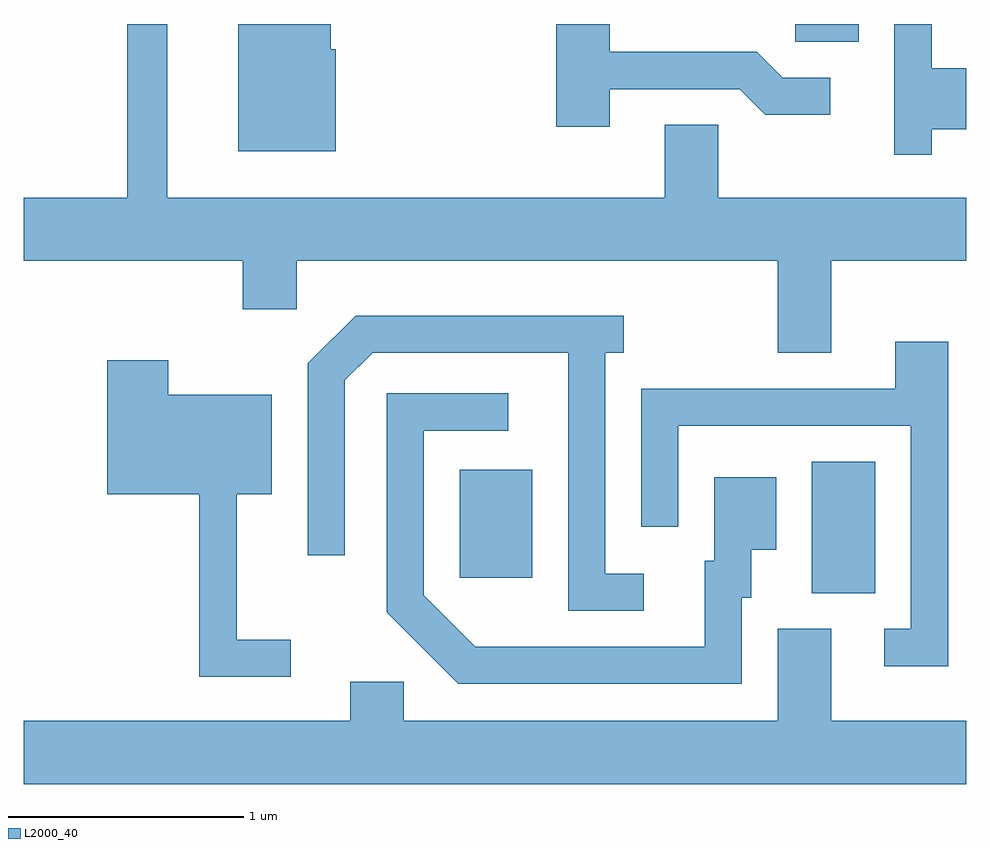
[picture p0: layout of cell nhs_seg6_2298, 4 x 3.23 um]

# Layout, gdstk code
import gdstk
lib = gdstk.Library(unit=1e-6, precision=1e-09)
def R(c, l, rs):  # rectangles x0, y0, x1, y1
    for r in rs: c.add(gdstk.rectangle(r[:2], r[2:], *l))
def P(c, l, *ps):  # polygons
    for p in ps: c.add(gdstk.Polygon(p, *l))
L2000_40 = (2000, 40)

nhs_seg6_2298 = lib.new_cell('nhs_seg6_2298')
R(nhs_seg6_2298, L2000_40, [(258.956,1539.746,259.224,1540.304), (257.461,1539.811,257.769,1540.269), (258.886,1542.086,259.154,1542.162)])
P(nhs_seg6_2298, L2000_40, [(259.039,1541.156),(259.611,1541.156),(259.611,1541.424),(258.559,1541.424),(258.559,1541.734),(258.331,1541.734),(258.331,1541.424),(256.219,1541.424),(256.219,1542.162),(256.051,1542.162),(256.051,1541.424),(255.611,1541.424),(255.611,1541.156),(256.541,1541.156),(256.541,1540.951),(256.769,1540.951),(256.769,1541.156),(258.811,1541.156),(258.811,1540.766),(259.039,1540.766)],
  [(256.934,1542.054),(256.914,1542.054),(256.914,1542.162),(256.521,1542.162),(256.521,1541.621),(256.934,1541.621)],
  [(258.099,1541.886),(258.649,1541.886),(258.759,1541.776),(259.033,1541.776),(259.033,1541.934),(258.832,1541.934),(258.722,1542.044),(258.099,1542.044),(258.099,1542.162),(257.871,1542.162),(257.871,1541.726),(258.099,1541.726)],
  [(259.464,1541.716),(259.611,1541.716),(259.611,1541.974),(259.464,1541.974),(259.464,1542.162),(259.306,1542.162),(259.306,1541.608),(259.464,1541.608)],
  [(258.243,1539.829),(258.079,1539.829),(258.079,1540.766),(258.158,1540.766),(258.158,1540.924),(257.019,1540.924),(256.816,1540.722),(256.816,1539.908),(256.974,1539.908),(256.974,1540.649),(257.092,1540.766),(257.921,1540.766),(257.921,1539.671),(258.243,1539.671)],
  [(259.534,1540.814),(259.311,1540.814),(259.311,1540.614),(258.231,1540.614),(258.231,1540.028),(258.389,1540.028),(258.389,1540.456),(259.376,1540.456),(259.376,1539.594),(259.263,1539.594),(259.263,1539.436),(259.534,1539.436)],
  [(256.743,1539.549),(256.514,1539.549),(256.514,1540.166),(256.664,1540.166),(256.664,1540.589),(256.224,1540.589),(256.224,1540.734),(255.966,1540.734),(255.966,1540.166),(256.356,1540.166),(256.356,1539.391),(256.743,1539.391)],
  [(258.659,1539.726),(258.699,1539.726),(258.699,1539.931),(258.804,1539.931),(258.804,1540.239),(258.541,1540.239),(258.541,1539.884),(258.501,1539.884),(258.501,1539.519),(257.527,1539.519),(257.309,1539.737),(257.309,1540.436),(257.668,1540.436),(257.668,1540.594),(257.151,1540.594),(257.151,1539.664),(257.454,1539.361),(258.659,1539.361)],
  [(259.611,1539.204),(259.039,1539.204),(259.039,1539.594),(258.811,1539.594),(258.811,1539.204),(257.224,1539.204),(257.224,1539.369),(256.996,1539.369),(256.996,1539.204),(255.611,1539.204),(255.611,1538.936),(259.611,1538.936)])

lib.write_gds('nhs_seg6_2298.gds')
